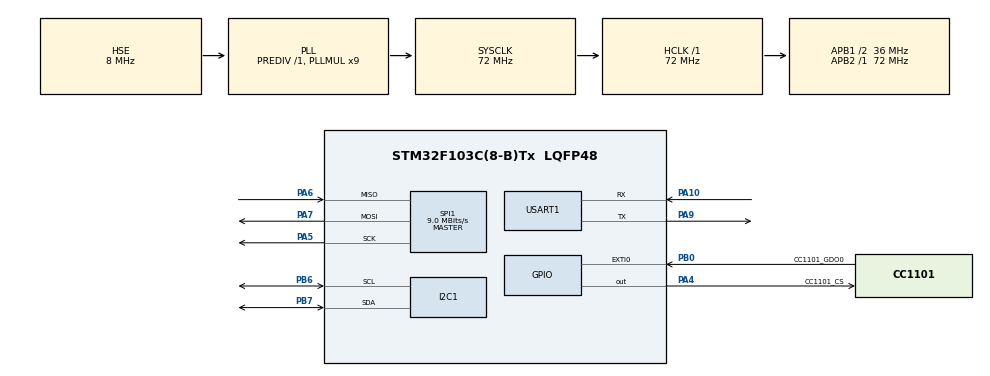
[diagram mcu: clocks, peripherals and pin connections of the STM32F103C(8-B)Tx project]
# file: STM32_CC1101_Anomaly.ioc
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Mcu.Family=STM32F1
Mcu.Name=STM32F103C(8-B)Tx
Mcu.Package=LQFP48
NVIC.EXTI0_IRQn=true\:0\:0\:false\:false\:true\:true\:true\:true
NVIC.PriorityGroup=NVIC_PRIORITYGROUP_4
PA10.Mode=Asynchronous
PA10.Signal=USART1_RX
PA13.Mode=Serial_Wire
PA13.Signal=SYS_JTMS-SWDIO
PA14.Mode=Serial_Wire
PA14.Signal=SYS_JTCK-SWCLK
PA4.GPIO_Label=CC1101_CS
PA4.Signal=GPIO_Output
PA5.Mode=Full_Duplex_Master
PA5.Signal=SPI1_SCK
PA6.Mode=Full_Duplex_Master
PA6.Signal=SPI1_MISO
PA7.Mode=Full_Duplex_Master
PA7.Signal=SPI1_MOSI
PA9.Mode=Asynchronous
PA9.Signal=USART1_TX
PB0.GPIO_Label=CC1101_GDO0
PB0.GPIO_PuPd=GPIO_PULLDOWN
PB0.Signal=GPXTI0
PB6.Mode=I2C
PB6.Signal=I2C1_SCL
PB7.Mode=I2C
PB7.Signal=I2C1_SDA
PD0-OSC_IN.Mode=HSE-External-Oscillator
PD0-OSC_IN.Signal=RCC_OSC_IN
PD1-OSC_OUT.Mode=HSE-External-Oscillator
PD1-OSC_OUT.Signal=RCC_OSC_OUT
ProjectManager.HeapSize=0x200
ProjectManager.StackSize=0x400
ProjectManager.TargetToolchain=STM32CubeIDE
RCC.AHBFreq_Value=72000000
RCC.APB1CLKDivider=RCC_HCLK_DIV2
RCC.APB1Freq_Value=36000000
RCC.APB1TimFreq_Value=72000000
RCC.APB2Freq_Value=72000000
RCC.APB2TimFreq_Value=72000000
RCC.HCLKFreq_Value=72000000
RCC.PLLMUL=RCC_PLL_MUL9
RCC.PLLSourceVirtual=RCC_PLLSOURCE_HSE
RCC.SYSCLKFreq_VALUE=72000000
RCC.SYSCLKSource=RCC_SYSCLKSOURCE_PLLCLK
RCC.USBFreq_Value=72000000
SPI1.BaudRatePrescaler=SPI_BAUDRATEPRESCALER_8
SPI1.CalculateBaudRate=9.0 MBits/s
SPI1.Direction=SPI_DIRECTION_2LINES
SPI1.Mode=SPI_MODE_MASTER
SPI1.VirtualType=VM_MASTER
USART1.VirtualMode=VM_ASYNC
board=custom

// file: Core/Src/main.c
/* USER CODE BEGIN Header */
/**
  ******************************************************************************
  * @file           : main.c
  * @brief          : Main program body with Anti-Lock RSSI Pipeline
  ******************************************************************************
  */
/* USER CODE END Header */
#include "main.h"
#include "i2c.h"
#include "spi.h"
#include "usart.h"
#include "gpio.h"

/* USER CODE BEGIN Includes */
#include <stdio.h>
/* USER CODE END Includes */

void SystemClock_Config(void);
/* USER CODE BEGIN PFP */
uint8_t CC1101_ReadRegister(uint8_t reg_addr);
void CC1101_Init(void);
void CC1101_SendCommand(uint8_t command);
void CC1101_WriteRegister(uint8_t reg_addr, uint8_t value);
int CC1101_GetRSSI(void);
/* USER CODE END PFP */

int main(void)
{
  /* MCU Configuration--------------------------------------------------------*/
  HAL_Init();
  SystemClock_Config();

  /* Initialize all configured peripherals */
  MX_GPIO_Init();
  MX_I2C1_Init();
  MX_SPI1_Init();
  MX_USART1_UART_Init();

  /* USER CODE BEGIN 2 */
  __HAL_RCC_GPIOC_CLK_ENABLE();
  GPIO_InitTypeDef GPIO_InitStructPrivate = {0};
  GPIO_InitStructPrivate.Pin = GPIO_PIN_13;
  GPIO_InitStructPrivate.Mode = GPIO_MODE_OUTPUT_PP;
  GPIO_InitStructPrivate.Pull = GPIO_NOPULL;
  GPIO_InitStructPrivate.Speed = GPIO_SPEED_FREQ_LOW;
  HAL_GPIO_Init(GPIOC, &GPIO_InitStructPrivate);

  CC1101_Init();

  printf("\r\n--- CALIBRATING RF ENVIRONMENT... ---\r\n");

  int32_t rssi_accumulator = 0;
  int baseline_rssi = -100;
  int calibration_samples = 50;

  for(int i = 0; i < calibration_samples; i++) {
      rssi_accumulator += CC1101_GetRSSI();
      HAL_GPIO_TogglePin(GPIOC, GPIO_PIN_13);
      HAL_Delay(100);
  }

  baseline_rssi = rssi_accumulator / calibration_samples;
  printf("CALIBRATION DONE. BASELINE RSSI: %d dBm\r\n", baseline_rssi);

  int jamming_threshold = baseline_rssi + 8;

  int anomaly_counter = 0;
  char* system_status = "NORMAL";
  /* USER CODE END 2 */

  /* Infinite loop */
  /* USER CODE BEGIN WHILE */
  /* Infinite loop */
    /* USER CODE BEGIN WHILE */
    while (1)
    {
    	        uint8_t rx_cmd;
    	        if (HAL_UART_Receive(&huart1, &rx_cmd, 1, 10) == HAL_OK) {

    	            if (rx_cmd == 'H') {
    	                CC1101_SendCommand(0x36); // SIDLE
    	                CC1101_WriteRegister(0x0D, 0x10); // FREQ2
    	                CC1101_WriteRegister(0x0E, 0xB1); // FREQ1
    	                CC1101_WriteRegister(0x0F, 0x3B); // FREQ0 (434 MHz)
    	                CC1101_SendCommand(0x34); // SRX
    	                printf("\r\nHOPPED TO 434 MHz\r\n");
    	            }
    	            else if (rx_cmd == 'B') {
    	                CC1101_SendCommand(0x36); // SIDLE
    	                CC1101_WriteRegister(0x0D, 0x10); // FREQ2
    	                CC1101_WriteRegister(0x0E, 0xA7); // FREQ1
    	                CC1101_WriteRegister(0x0F, 0x62); // FREQ0 (433 MHz)
    	                CC1101_SendCommand(0x34); // SRX
    	                printf("\r\nRETURNED TO BASE (433 MHz)\r\n");
    	            }
    	        }

        int rssi_dbm = CC1101_GetRSSI();

        if (rssi_dbm > jamming_threshold) {
            anomaly_counter++;
            if (anomaly_counter >= 5) {
                system_status = "JAMMING_ATTACK";
                HAL_GPIO_WritePin(GPIOC, GPIO_PIN_13, GPIO_PIN_RESET);
            }
        } else {
            if (anomaly_counter > 0) anomaly_counter--;
            if (anomaly_counter == 0) {
                system_status = "NORMAL";
                HAL_GPIO_WritePin(GPIOC, GPIO_PIN_13, GPIO_PIN_SET);
            }
        }

        printf("RSSI:%d,STATUS:%s\r\n", rssi_dbm, system_status);

        HAL_Delay(80);
      /* USER CODE END WHILE */
    } }

int CC1101_GetRSSI(void) {

    CC1101_SendCommand(0x36); // SIDLE

    CC1101_SendCommand(0x3A); // SFRX

    CC1101_SendCommand(0x34); // SRX

    HAL_Delay(5);

    uint8_t raw = CC1101_ReadRegister(0x34);
    int dbm = (raw >= 128) ? (((raw - 256) / 2) - 74) : ((raw / 2) - 74);

    return dbm;
}

void SystemClock_Config(void)
{
  RCC_OscInitTypeDef RCC_OscInitStruct = {0};
  RCC_ClkInitTypeDef RCC_ClkInitStruct = {0};
  RCC_OscInitStruct.OscillatorType = RCC_OSCILLATORTYPE_HSE;
  RCC_OscInitStruct.HSEState = RCC_HSE_ON;
  RCC_OscInitStruct.HSEPredivValue = RCC_HSE_PREDIV_DIV1;
  RCC_OscInitStruct.HSIState = RCC_HSI_ON;
  RCC_OscInitStruct.PLL.PLLState = RCC_PLL_ON;
  RCC_OscInitStruct.PLL.PLLSource = RCC_PLLSOURCE_HSE;
  RCC_OscInitStruct.PLL.PLLMUL = RCC_PLL_MUL9;
  if (HAL_RCC_OscConfig(&RCC_OscInitStruct) != HAL_OK) { Error_Handler(); }
  RCC_ClkInitStruct.ClockType = RCC_CLOCKTYPE_HCLK|RCC_CLOCKTYPE_SYSCLK|RCC_CLOCKTYPE_PCLK1|RCC_CLOCKTYPE_PCLK2;
  RCC_ClkInitStruct.SYSCLKSource = RCC_SYSCLKSOURCE_PLLCLK;
  RCC_ClkInitStruct.AHBCLKDivider = RCC_SYSCLK_DIV1;
  RCC_ClkInitStruct.APB1CLKDivider = RCC_HCLK_DIV2;
  RCC_ClkInitStruct.APB2CLKDivider = RCC_HCLK_DIV1;
  if (HAL_RCC_ClockConfig(&RCC_ClkInitStruct, FLASH_LATENCY_2) != HAL_OK) { Error_Handler(); }
}

/* USER CODE BEGIN 4 */
int __io_putchar(int ch) {
    HAL_UART_Transmit(&huart1, (uint8_t *)&ch, 1, HAL_MAX_DELAY);
    return ch;
}

void CC1101_SendCommand(uint8_t command) {
    HAL_GPIO_WritePin(GPIOA, CC1101_CS_Pin, GPIO_PIN_RESET);
    HAL_SPI_Transmit(&hspi1, &command, 1, 10);
    HAL_GPIO_WritePin(GPIOA, CC1101_CS_Pin, GPIO_PIN_SET);
}

void CC1101_WriteRegister(uint8_t reg_addr, uint8_t value) {
    HAL_GPIO_WritePin(GPIOA, CC1101_CS_Pin, GPIO_PIN_RESET);
    HAL_SPI_Transmit(&hspi1, &reg_addr, 1, 10);
    HAL_SPI_Transmit(&hspi1, &value, 1, 10);
    HAL_GPIO_WritePin(GPIOA, CC1101_CS_Pin, GPIO_PIN_SET);
}

uint8_t CC1101_ReadRegister(uint8_t reg_addr) {
    uint8_t send_byte = reg_addr | 0x80;
    if (reg_addr >= 0x30) { send_byte |= 0x40; }
    uint8_t receive_byte = 0;
    HAL_GPIO_WritePin(GPIOA, CC1101_CS_Pin, GPIO_PIN_RESET);
    HAL_SPI_Transmit(&hspi1, &send_byte, 1, 10);
    uint8_t dummy = 0;
    HAL_SPI_TransmitReceive(&hspi1, &dummy, &receive_byte, 1, 10);
    HAL_GPIO_WritePin(GPIOA, CC1101_CS_Pin, GPIO_PIN_SET);
    return receive_byte;
}

void CC1101_Init(void) {
    CC1101_SendCommand(0x30); // SRES
    HAL_Delay(10);
    CC1101_WriteRegister(0x12, 0x00); // MDMCFG2
    CC1101_WriteRegister(0x08, 0x00); // PKTCTRL0
    CC1101_WriteRegister(0x18, 0x18); // MCSM0
    CC1101_SendCommand(0x34);         // SRX
}
/* USER CODE END 4 */

void Error_Handler(void) { __disable_irq(); while (1) {} }
